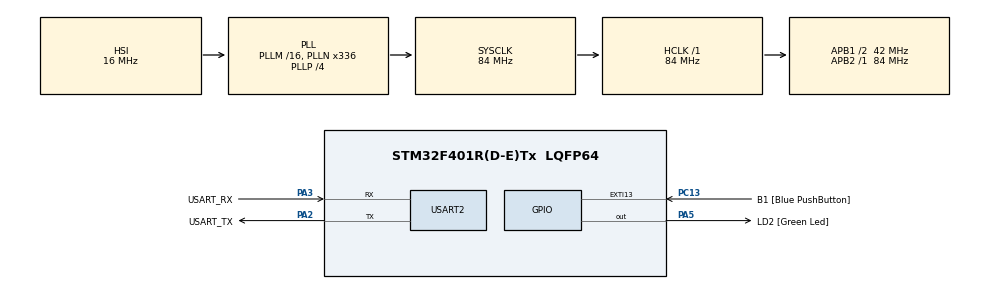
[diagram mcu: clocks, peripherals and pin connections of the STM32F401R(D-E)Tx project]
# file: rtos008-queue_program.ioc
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FREERTOS.Queues01=cmd_queue,16,App_Cmd_t*,0,Dynamic,NULL,NULL;msg_queue,16,char*,0,Dynamic,NULL,NULL
FREERTOS.Tasks01=cmd_handling_ta,0,128,StartCmdHandling,Default,NULL,Dynamic,NULL,NULL;menu_print_task,-2,128,StartMenuPrint,Default,NULL,Dynamic,NULL,NULL;cmd_execution_t,0,128,StartCmdExecution,Default,NULL,Dynamic,NULL,NULL;uart_write_task,0,128,StartUartWrite,Default,NULL,Dynamic,NULL,NULL
Mcu.Family=STM32F4
Mcu.Name=STM32F401R(D-E)Tx
Mcu.Package=LQFP64
NVIC.PriorityGroup=NVIC_PRIORITYGROUP_4
NVIC.TIM1_UP_TIM10_IRQn=true\:0\:0\:false\:false\:true\:false\:false\:true
NVIC.TimeBase=TIM1_UP_TIM10_IRQn
NVIC.TimeBaseIP=TIM1
NVIC.USART2_IRQn=true\:5\:0\:false\:false\:true\:true\:true\:true
PA13.GPIO_Label=TMS
PA13.Mode=Serial_Wire
PA13.Signal=SYS_JTMS-SWDIO
PA14.GPIO_Label=TCK
PA14.Mode=Serial_Wire
PA14.Signal=SYS_JTCK-SWCLK
PA2.GPIO_Label=USART_TX
PA2.GPIO_Mode=GPIO_MODE_AF_PP
PA2.GPIO_PuPd=GPIO_NOPULL
PA2.GPIO_Speed=GPIO_SPEED_FREQ_LOW
PA2.Mode=Asynchronous
PA2.Signal=USART2_TX
PA3.GPIO_Label=USART_RX
PA3.GPIO_Mode=GPIO_MODE_AF_PP
PA3.GPIO_PuPd=GPIO_NOPULL
PA3.GPIO_Speed=GPIO_SPEED_FREQ_LOW
PA3.Mode=Asynchronous
PA3.Signal=USART2_RX
PA5.GPIO_Label=LD2 [Green Led]
PA5.GPIO_Mode=GPIO_MODE_OUTPUT_PP
PA5.GPIO_PuPd=GPIO_NOPULL
PA5.GPIO_Speed=GPIO_SPEED_FREQ_LOW
PA5.Signal=GPIO_Output
PB3.GPIO_Label=SWO
PB3.Signal=SYS_JTDO-SWO
PC13-ANTI_TAMP.GPIO_Label=B1 [Blue PushButton]
PC13-ANTI_TAMP.GPIO_ModeDefaultEXTI=GPIO_MODE_IT_FALLING
PC13-ANTI_TAMP.GPIO_PuPd=GPIO_NOPULL
PC13-ANTI_TAMP.Signal=GPXTI13
PC14-OSC32_IN.Mode=LSE-External-Oscillator
PC14-OSC32_IN.Signal=RCC_OSC32_IN
PC15-OSC32_OUT.Mode=LSE-External-Oscillator
PC15-OSC32_OUT.Signal=RCC_OSC32_OUT
PH0\ -\ OSC_IN.Mode=HSE-External-Clock-Source
PH0\ -\ OSC_IN.Signal=RCC_OSC_IN
PH1\ -\ OSC_OUT.Mode=HSE-External-Clock-Source
PH1\ -\ OSC_OUT.Signal=RCC_OSC_OUT
ProjectManager.HeapSize=0x200
ProjectManager.StackSize=0x400
ProjectManager.TargetToolchain=STM32CubeIDE
RCC.48MHZClocksFreq_Value=48000000
RCC.AHBFreq_Value=84000000
RCC.APB1CLKDivider=RCC_HCLK_DIV2
RCC.APB1Freq_Value=42000000
RCC.APB1TimFreq_Value=84000000
RCC.APB2Freq_Value=84000000
RCC.APB2TimFreq_Value=84000000
RCC.CortexFreq_Value=84000000
RCC.HCLKFreq_Value=84000000
RCC.HSE_VALUE=8000000
RCC.HSI_VALUE=16000000
RCC.PLLN=336
RCC.PLLP=RCC_PLLP_DIV4
RCC.PLLQ=7
RCC.SYSCLKFreq_VALUE=84000000
RCC.SYSCLKSource=RCC_SYSCLKSOURCE_PLLCLK
RCC.VCOOutputFreq_Value=336000000
USART2.VirtualMode=VM_ASYNC
VP_FREERTOS_VS_CMSIS_V1.Mode=CMSIS_V1
VP_SYS_VS_tim1.Mode=TIM1
board=NUCLEO-F401RE

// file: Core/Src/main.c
/* USER CODE BEGIN Header */
/**
 ******************************************************************************
 * @file           : main.c
 * @brief          : Main program body
 ******************************************************************************
 * @attention
 * PRECISEI MUDAR O cmsis_os.c NA LINHA 612 p/ LIMPAR OS BITS DA osSignalWait
 *
 ******************************************************************************
 */
/* USER CODE END Header */

#include "main.h"
#include "cmsis_os.h"

/* USER CODE BEGIN Includes */
#include <FreeRTOS.h>
#include <stdio.h>
#include <string.h>
/* USER CODE END Includes */

UART_HandleTypeDef huart2;

osThreadId cmd_handling_taHandle;
osThreadId menu_print_taskHandle;
osThreadId cmd_execution_tHandle;
osThreadId uart_write_taskHandle;
osMessageQId cmd_queueHandle;
osMessageQId msg_queueHandle;
/* USER CODE BEGIN PV */

uint8_t cmd_recv_status = 0;
const char menu[] =
		"\nComandos Disponiveis: \n  LED_ON\n  LED_OFF\n  LED_TOGGLE_START\n  LED_STATUS_READ\n  RTC_DATETIME_READ\nDigite o comando a seguir: \n";
typedef enum Task {
	IDLE, PISCA, LIGA, DESLIGA, LEITURA, TEMPO
} enTask;

typedef struct APP_CMD {
	enTask Comando;
	char cmd[20];
} App_Cmd_t;

/* USER CODE END PV */

void SystemClock_Config(void);
static void MX_GPIO_Init(void);
static void MX_USART2_UART_Init(void);
void StartCmdHandling(void const * argument);
void StartMenuPrint(void const * argument);
void StartCmdExecution(void const * argument);
void StartUartWrite(void const * argument);

int main(void)
{

  /* MCU Configuration--------------------------------------------------------*/

  /* Reset of all peripherals, Initializes the Flash interface and the Systick. */
  HAL_Init();

  /* Configure the system clock */
  SystemClock_Config();

  /* Initialize all configured peripherals */
  MX_GPIO_Init();
  MX_USART2_UART_Init();

  /* Create the queue(s) */
  /* definition and creation of cmd_queue */
  osMessageQDef(cmd_queue, 16, App_Cmd_t*);
  cmd_queueHandle = osMessageCreate(osMessageQ(cmd_queue), NULL);

  /* definition and creation of msg_queue */
  osMessageQDef(msg_queue, 16, char*);
  msg_queueHandle = osMessageCreate(osMessageQ(msg_queue), NULL);

  /* Create the thread(s) */
  /* definition and creation of cmd_handling_ta */
  osThreadDef(cmd_handling_ta, StartCmdHandling, osPriorityNormal, 0, 128);
  cmd_handling_taHandle = osThreadCreate(osThread(cmd_handling_ta), NULL);

  /* definition and creation of menu_print_task */
  osThreadDef(menu_print_task, StartMenuPrint, osPriorityLow, 0, 128);
  menu_print_taskHandle = osThreadCreate(osThread(menu_print_task), NULL);

  /* definition and creation of cmd_execution_t */
  osThreadDef(cmd_execution_t, StartCmdExecution, osPriorityNormal, 0, 128);
  cmd_execution_tHandle = osThreadCreate(osThread(cmd_execution_t), NULL);

  /* definition and creation of uart_write_task */
  osThreadDef(uart_write_task, StartUartWrite, osPriorityNormal, 0, 128);
  uart_write_taskHandle = osThreadCreate(osThread(uart_write_task), NULL);

  /* Start scheduler */
  osKernelStart();

  /* We should never get here as control is now taken by the scheduler */

  /* Infinite loop */
	while (1) {

	}
}

void SystemClock_Config(void)
{
  RCC_OscInitTypeDef RCC_OscInitStruct = {0};
  RCC_ClkInitTypeDef RCC_ClkInitStruct = {0};

  /** Configure the main internal regulator output voltage
  */
  __HAL_RCC_PWR_CLK_ENABLE();
  __HAL_PWR_VOLTAGESCALING_CONFIG(PWR_REGULATOR_VOLTAGE_SCALE2);
  /** Initializes the CPU, AHB and APB busses clocks
  */
  RCC_OscInitStruct.OscillatorType = RCC_OSCILLATORTYPE_HSI;
  RCC_OscInitStruct.HSIState = RCC_HSI_ON;
  RCC_OscInitStruct.HSICalibrationValue = RCC_HSICALIBRATION_DEFAULT;
  RCC_OscInitStruct.PLL.PLLState = RCC_PLL_ON;
  RCC_OscInitStruct.PLL.PLLSource = RCC_PLLSOURCE_HSI;
  RCC_OscInitStruct.PLL.PLLM = 16;
  RCC_OscInitStruct.PLL.PLLN = 336;
  RCC_OscInitStruct.PLL.PLLP = RCC_PLLP_DIV4;
  RCC_OscInitStruct.PLL.PLLQ = 7;
  if (HAL_RCC_OscConfig(&RCC_OscInitStruct) != HAL_OK)
  {
    Error_Handler();
  }
  /** Initializes the CPU, AHB and APB busses clocks
  */
  RCC_ClkInitStruct.ClockType = RCC_CLOCKTYPE_HCLK|RCC_CLOCKTYPE_SYSCLK
                              |RCC_CLOCKTYPE_PCLK1|RCC_CLOCKTYPE_PCLK2;
  RCC_ClkInitStruct.SYSCLKSource = RCC_SYSCLKSOURCE_PLLCLK;
  RCC_ClkInitStruct.AHBCLKDivider = RCC_SYSCLK_DIV1;
  RCC_ClkInitStruct.APB1CLKDivider = RCC_HCLK_DIV2;
  RCC_ClkInitStruct.APB2CLKDivider = RCC_HCLK_DIV1;

  if (HAL_RCC_ClockConfig(&RCC_ClkInitStruct, FLASH_LATENCY_2) != HAL_OK)
  {
    Error_Handler();
  }
}

static void MX_USART2_UART_Init(void)
{

  huart2.Instance = USART2;
  huart2.Init.BaudRate = 115200;
  huart2.Init.WordLength = UART_WORDLENGTH_8B;
  huart2.Init.StopBits = UART_STOPBITS_1;
  huart2.Init.Parity = UART_PARITY_NONE;
  huart2.Init.Mode = UART_MODE_TX_RX;
  huart2.Init.HwFlowCtl = UART_HWCONTROL_NONE;
  huart2.Init.OverSampling = UART_OVERSAMPLING_16;
  if (HAL_UART_Init(&huart2) != HAL_OK)
  {
    Error_Handler();
  }

}

static void MX_GPIO_Init(void)
{
  GPIO_InitTypeDef GPIO_InitStruct = {0};

  /* GPIO Ports Clock Enable */
  __HAL_RCC_GPIOC_CLK_ENABLE();
  __HAL_RCC_GPIOH_CLK_ENABLE();
  __HAL_RCC_GPIOA_CLK_ENABLE();
  __HAL_RCC_GPIOB_CLK_ENABLE();

  /*Configure GPIO pin Output Level */
  HAL_GPIO_WritePin(LD2_GPIO_Port, LD2_Pin, GPIO_PIN_RESET);

  /*Configure GPIO pin : B1_Pin */
  GPIO_InitStruct.Pin = B1_Pin;
  GPIO_InitStruct.Mode = GPIO_MODE_IT_FALLING;
  GPIO_InitStruct.Pull = GPIO_NOPULL;
  HAL_GPIO_Init(B1_GPIO_Port, &GPIO_InitStruct);

  /*Configure GPIO pin : LD2_Pin */
  GPIO_InitStruct.Pin = LD2_Pin;
  GPIO_InitStruct.Mode = GPIO_MODE_OUTPUT_PP;
  GPIO_InitStruct.Pull = GPIO_NOPULL;
  GPIO_InitStruct.Speed = GPIO_SPEED_FREQ_LOW;
  HAL_GPIO_Init(LD2_GPIO_Port, &GPIO_InitStruct);

}

/* USER CODE BEGIN 4 */
void HAL_UART_RxCpltCallback(UART_HandleTypeDef *huart) {
	if (huart->Instance->DR != '\n') {
		// Lê o bit recebido
		//*huart->pRxBuffPtr = huart->Instance->DR;

		// Incrementa o ponteiro
		//huart->pRxBuffPtr++;

		// Prepara o próximo recebimento
		HAL_UART_Receive_IT(&huart2, huart->pRxBuffPtr, 1);
	} else {
		// Lê o último bit recebido (p/ strlen)
		//*huart->pRxBuffPtr = huart->Instance->DR;

		// Ativa a flag de recv_status (recebido)
		//cmd_recv_status = SET;
		osSignalSet(cmd_handling_taHandle, 0x0001);
	}
}
/* USER CODE END 4 */

void StartCmdHandling(void const * argument)
{
  /* USER CODE BEGIN 5 */
	char cmd[20] = "Vai curinthia\n";
	HAL_UART_Transmit(&huart2, (uint8_t*) cmd, strlen(cmd), portMAX_DELAY);
	memset(cmd, 0, sizeof(cmd));
	HAL_UART_Receive_IT(&huart2, (uint8_t*) cmd, 1);
	osEvent evt;

	/* Infinite loop */
	for (;;) {
		evt = osSignalWait(0x0001, osWaitForever);
		if (evt.status == osEventSignal) {
			//HAL_UART_Transmit(&huart2, (uint8_t*)cmd, strlen(cmd), portMAX_DELAY);
			osMessagePut(msg_queueHandle, (uint32_t) &cmd, portMAX_DELAY);

			if (strcmp(cmd, "LED_ON\n") == 0) {
				osSignalSet(cmd_execution_tHandle, 0x0001);
			} else if (strcmp(cmd, "LED_OFF\n") == 0) {
				osSignalSet(cmd_execution_tHandle, 0x0002);
			} else if (strcmp(cmd, "LED_TOGGLE_START\n") == 0) {
				osSignalSet(cmd_execution_tHandle, 0x0003);
			} else if (strcmp(cmd, "LED_TOGGLE_STOP\n") == 0) {
				osSignalSet(cmd_execution_tHandle, 0x0004);
			} else if (strcmp(cmd, "LED_STATUS_READ\n") == 0) {
				osSignalSet(cmd_execution_tHandle, 0x0005);
			} else if (strcmp(cmd, "RTC_DATETIME_READ\n") == 0) {
				osSignalSet(cmd_execution_tHandle, 0x0006);
			}

			HAL_UART_Receive_IT(&huart2, (uint8_t*) cmd, 1);
		}
	}
  /* USER CODE END 5 */
}

void StartMenuPrint(void const * argument)
{
  /* USER CODE BEGIN StartMenuPrint */

	/* Infinite loop */
	for (;;) {
		osMessagePut(msg_queueHandle, (uint32_t) &menu, portMAX_DELAY);
		evt = osSignalWait(0x0001, osWaitForever);
	}
  /* USER CODE END StartMenuPrint */
}

void StartCmdExecution(void const * argument)
{
  /* USER CODE BEGIN StartCmdExecution */
	osEvent evt;
	uint8_t toggle = 0;
	char msg[20] = {0};
	evt = osSignalWait(0, osWaitForever);
	/* Infinite loop */
	for (;;) {

		if (evt.status == osEventSignal) {
			switch (evt.value.signals) {
			case 0x0001:
				HAL_GPIO_WritePin(LD2_GPIO_Port, LD2_Pin, SET);
				evt = osSignalWait(0, osWaitForever);
				toggle = 0;
				break;
			case 0x0002:
				HAL_GPIO_WritePin(LD2_GPIO_Port, LD2_Pin, RESET);
				evt = osSignalWait(0, osWaitForever);
				toggle = 0;
				break;
			case 0x0003:
				//HAL_GPIO_TogglePin(LD2_GPIO_Port, LD2_Pin);
				toggle = 1;
				break;
			case 0x0004:
				toggle = 0;
				evt = osSignalWait(0, osWaitForever);
				break;
			case 0x0005:
				memset(msg, 0, strlen(msg));
				if(HAL_GPIO_ReadPin(LD2_GPIO_Port, LD2_Pin)){
					sprintf(msg, "HIGH\n");
				}else{
					sprintf(msg, "LOW\n");
				}
				osMessagePut(msg_queueHandle, (uint32_t) &msg, portMAX_DELAY);
				evt = osSignalWait(0, 0);
				break;
			default:
				evt = osSignalWait(0, osWaitForever);

			}
		}
		if(toggle){
			HAL_GPIO_TogglePin(LD2_GPIO_Port, LD2_Pin);
			evt = osSignalWait(0, 1000);
		}
	}
  /* USER CODE END StartCmdExecution */
}

void StartUartWrite(void const * argument)
{
  /* USER CODE BEGIN StartUartWrite */
	osEvent evt;
	char *pmsg = NULL;
	/* Infinite loop */
	for (;;) {
		evt = osMessageGet(msg_queueHandle, portMAX_DELAY);
		pmsg = evt.value.p;
		HAL_UART_Transmit(&huart2, (uint8_t*) pmsg, strlen(pmsg),
				portMAX_DELAY);
		memset(pmsg, 0, strlen(pmsg));
	}
  /* USER CODE END StartUartWrite */
}

void HAL_TIM_PeriodElapsedCallback(TIM_HandleTypeDef *htim)
{
  if (htim->Instance == TIM1) {
    HAL_IncTick();
  }
}

void Error_Handler(void)
{
}

/************************ (C) COPYRIGHT STMicroelectronics *****END OF FILE****/
